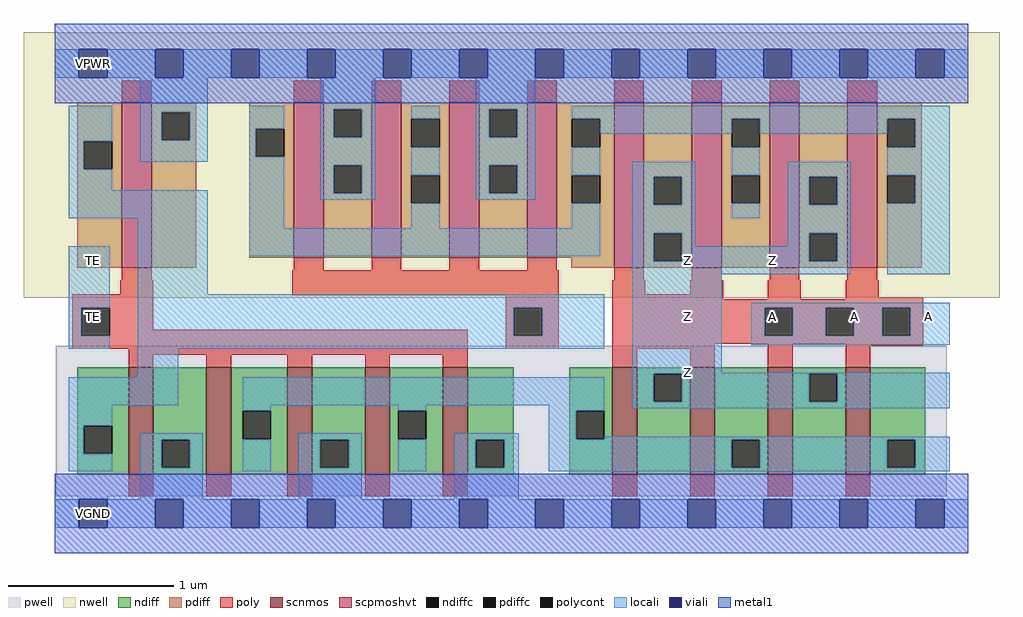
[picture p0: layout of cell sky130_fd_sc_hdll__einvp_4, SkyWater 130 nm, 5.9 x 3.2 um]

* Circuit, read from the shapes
.subckt sky130_fd_sc_hdll__einvp_4 A TE VGND VNB VPB VPWR Z
XM1 VGND TE n1 VNB sky130_fd_pr__nfet_01v8 w=0.65 l=0.15
XM2 n2 TE VGND VNB sky130_fd_pr__nfet_01v8 w=0.65 l=0.15 m=4
XM3 Z A n2 VNB sky130_fd_pr__nfet_01v8 w=0.65 l=0.15 m=4
XM4 VPWR TE n1 VPB sky130_fd_pr__pfet_01v8_hvt w=1 l=0.18
XM5 VPWR n1 n3 VPB sky130_fd_pr__pfet_01v8_hvt w=0.94 l=0.18 m=4
XM6 Z A n3 VPB sky130_fd_pr__pfet_01v8_hvt w=1 l=0.18 m=4
.ends

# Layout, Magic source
magic
tech sky130A
magscale 1 2
<< nwell >>
rect -38 261 1142 582
<< pwell >>
rect 1 21 1078 203
rect 30 -17 64 21
<< scnmos >>
rect 89 47 119 177
rect 183 47 213 177
rect 281 47 311 177
rect 375 47 405 177
rect 469 47 499 177
rect 674 47 704 177
rect 768 47 798 177
rect 862 47 892 177
rect 956 47 986 177
<< scpmoshvt >>
rect 81 297 117 497
rect 289 309 325 497
rect 383 309 419 497
rect 477 309 513 497
rect 571 309 607 497
rect 676 297 712 497
rect 770 297 806 497
rect 864 297 900 497
rect 958 297 994 497
<< ndiff >>
rect 27 106 89 177
rect 27 72 35 106
rect 69 72 89 106
rect 27 47 89 72
rect 119 89 183 177
rect 119 55 129 89
rect 163 55 183 89
rect 119 47 183 55
rect 213 124 281 177
rect 213 90 227 124
rect 261 90 281 124
rect 213 47 281 90
rect 311 89 375 177
rect 311 55 321 89
rect 355 55 375 89
rect 311 47 375 55
rect 405 124 469 177
rect 405 90 415 124
rect 449 90 469 124
rect 405 47 469 90
rect 499 89 555 177
rect 499 55 509 89
rect 543 55 555 89
rect 499 47 555 55
rect 622 124 674 177
rect 622 90 630 124
rect 664 90 674 124
rect 622 47 674 90
rect 704 169 768 177
rect 704 135 724 169
rect 758 135 768 169
rect 704 47 768 135
rect 798 89 862 177
rect 798 55 818 89
rect 852 55 862 89
rect 798 47 862 55
rect 892 169 956 177
rect 892 135 912 169
rect 946 135 956 169
rect 892 47 956 135
rect 986 89 1052 177
rect 986 55 1006 89
rect 1040 55 1052 89
rect 986 47 1052 55
<< pdiff >>
rect 27 450 81 497
rect 27 416 35 450
rect 69 416 81 450
rect 27 297 81 416
rect 117 485 171 497
rect 117 451 129 485
rect 163 451 171 485
rect 117 297 171 451
rect 235 465 289 497
rect 235 431 243 465
rect 277 431 289 465
rect 235 309 289 431
rect 325 489 383 497
rect 325 455 337 489
rect 371 455 383 489
rect 325 421 383 455
rect 325 387 337 421
rect 371 387 383 421
rect 325 309 383 387
rect 419 477 477 497
rect 419 443 431 477
rect 465 443 477 477
rect 419 409 477 443
rect 419 375 431 409
rect 465 375 477 409
rect 419 309 477 375
rect 513 489 571 497
rect 513 455 525 489
rect 559 455 571 489
rect 513 421 571 455
rect 513 387 525 421
rect 559 387 571 421
rect 513 309 571 387
rect 607 477 676 497
rect 607 443 625 477
rect 659 443 676 477
rect 607 409 676 443
rect 607 375 625 409
rect 659 375 676 409
rect 607 309 676 375
rect 624 297 676 309
rect 712 407 770 497
rect 712 373 724 407
rect 758 373 770 407
rect 712 339 770 373
rect 712 305 724 339
rect 758 305 770 339
rect 712 297 770 305
rect 806 477 864 497
rect 806 443 818 477
rect 852 443 864 477
rect 806 409 864 443
rect 806 375 818 409
rect 852 375 864 409
rect 806 297 864 375
rect 900 407 958 497
rect 900 373 912 407
rect 946 373 958 407
rect 900 339 958 373
rect 900 305 912 339
rect 946 305 958 339
rect 900 297 958 305
rect 994 477 1048 497
rect 994 443 1006 477
rect 1040 443 1048 477
rect 994 409 1048 443
rect 994 375 1006 409
rect 1040 375 1048 409
rect 994 297 1048 375
<< ndiffc >>
rect 35 72 69 106
rect 129 55 163 89
rect 227 90 261 124
rect 321 55 355 89
rect 415 90 449 124
rect 509 55 543 89
rect 630 90 664 124
rect 724 135 758 169
rect 818 55 852 89
rect 912 135 946 169
rect 1006 55 1040 89
<< pdiffc >>
rect 35 416 69 450
rect 129 451 163 485
rect 243 431 277 465
rect 337 455 371 489
rect 337 387 371 421
rect 431 443 465 477
rect 431 375 465 409
rect 525 455 559 489
rect 525 387 559 421
rect 625 443 659 477
rect 625 375 659 409
rect 724 373 758 407
rect 724 305 758 339
rect 818 443 852 477
rect 818 375 852 409
rect 912 373 946 407
rect 912 305 946 339
rect 1006 443 1040 477
rect 1006 375 1040 409
<< poly >>
rect 81 497 117 523
rect 289 497 325 523
rect 383 497 419 523
rect 477 497 513 523
rect 571 497 607 523
rect 676 497 712 523
rect 770 497 806 523
rect 864 497 900 523
rect 958 497 994 523
rect 81 282 117 297
rect 289 294 325 309
rect 383 294 419 309
rect 477 294 513 309
rect 571 294 607 309
rect 79 265 119 282
rect 21 249 119 265
rect 287 264 609 294
rect 676 282 712 297
rect 770 282 806 297
rect 864 282 900 297
rect 958 282 994 297
rect 21 215 32 249
rect 66 222 119 249
rect 545 249 609 264
rect 66 215 499 222
rect 21 199 499 215
rect 545 215 555 249
rect 589 215 609 249
rect 545 199 609 215
rect 674 265 714 282
rect 768 265 808 282
rect 674 259 808 265
rect 862 259 902 282
rect 956 261 996 282
rect 956 259 1050 261
rect 674 249 1050 259
rect 674 215 858 249
rect 892 215 932 249
rect 966 215 1000 249
rect 1034 215 1050 249
rect 674 205 1050 215
rect 674 199 798 205
rect 89 192 499 199
rect 89 177 119 192
rect 183 177 213 192
rect 281 177 311 192
rect 375 177 405 192
rect 469 177 499 192
rect 674 177 704 199
rect 768 177 798 199
rect 862 177 892 205
rect 956 203 1050 205
rect 956 177 986 203
rect 89 21 119 47
rect 183 21 213 47
rect 281 21 311 47
rect 375 21 405 47
rect 469 21 499 47
rect 674 21 704 47
rect 768 21 798 47
rect 862 21 892 47
rect 956 21 986 47
<< polycont >>
rect 32 215 66 249
rect 555 215 589 249
rect 858 215 892 249
rect 932 215 966 249
rect 1000 215 1034 249
<< locali >>
rect 0 527 29 561
rect 63 527 121 561
rect 155 527 213 561
rect 247 527 305 561
rect 339 527 397 561
rect 431 527 489 561
rect 523 527 581 561
rect 615 527 673 561
rect 707 527 765 561
rect 799 527 857 561
rect 891 527 949 561
rect 983 527 1041 561
rect 1075 527 1104 561
rect 17 450 69 493
rect 17 416 35 450
rect 103 485 185 527
rect 103 451 129 485
rect 163 451 185 485
rect 103 425 185 451
rect 235 465 277 493
rect 235 431 243 465
rect 17 391 69 416
rect 17 357 185 391
rect 17 249 66 323
rect 17 215 32 249
rect 17 199 66 215
rect 100 265 185 357
rect 235 345 277 431
rect 321 489 387 527
rect 321 455 337 489
rect 371 455 387 489
rect 321 421 387 455
rect 321 387 337 421
rect 371 387 387 421
rect 321 379 387 387
rect 431 477 465 493
rect 431 409 465 443
rect 509 489 581 527
rect 509 455 525 489
rect 559 455 581 489
rect 509 421 581 455
rect 509 387 525 421
rect 559 387 581 421
rect 509 379 581 387
rect 625 477 1082 493
rect 659 459 818 477
rect 625 409 659 443
rect 852 459 1006 477
rect 431 345 465 375
rect 625 345 659 375
rect 235 311 659 345
rect 698 407 774 425
rect 698 373 724 407
rect 758 373 774 407
rect 698 339 774 373
rect 818 409 852 443
rect 1040 443 1082 477
rect 818 357 852 375
rect 886 407 962 425
rect 886 373 912 407
rect 946 373 962 407
rect 698 305 724 339
rect 758 323 774 339
rect 886 339 962 373
rect 886 323 912 339
rect 758 305 912 323
rect 946 305 962 339
rect 698 289 962 305
rect 1006 409 1082 443
rect 1040 375 1082 409
rect 1006 289 1082 375
rect 100 249 664 265
rect 100 215 555 249
rect 589 215 664 249
rect 100 199 664 215
rect 100 165 149 199
rect 698 170 806 289
rect 842 249 1082 255
rect 842 215 858 249
rect 892 215 932 249
rect 966 215 1000 249
rect 1034 215 1082 249
rect 842 204 1082 215
rect 698 169 1082 170
rect 17 131 149 165
rect 227 131 664 165
rect 17 106 69 131
rect 17 72 35 106
rect 227 124 261 131
rect 17 51 69 72
rect 103 89 179 97
rect 103 55 129 89
rect 163 55 179 89
rect 103 17 179 55
rect 415 124 449 131
rect 227 51 261 90
rect 295 89 371 97
rect 295 55 321 89
rect 355 55 371 89
rect 295 17 371 55
rect 597 124 664 131
rect 698 135 724 169
rect 758 135 912 169
rect 946 135 1082 169
rect 698 127 1082 135
rect 415 51 449 90
rect 483 89 561 97
rect 483 55 509 89
rect 543 55 561 89
rect 483 17 561 55
rect 597 90 630 124
rect 664 90 1082 93
rect 597 89 1082 90
rect 597 55 818 89
rect 852 55 1006 89
rect 1040 55 1082 89
rect 597 51 1082 55
rect 0 -17 29 17
rect 63 -17 121 17
rect 155 -17 213 17
rect 247 -17 305 17
rect 339 -17 397 17
rect 431 -17 489 17
rect 523 -17 581 17
rect 615 -17 673 17
rect 707 -17 765 17
rect 799 -17 857 17
rect 891 -17 949 17
rect 983 -17 1041 17
rect 1075 -17 1104 17
<< viali >>
rect 29 527 63 561
rect 121 527 155 561
rect 213 527 247 561
rect 305 527 339 561
rect 397 527 431 561
rect 489 527 523 561
rect 581 527 615 561
rect 673 527 707 561
rect 765 527 799 561
rect 857 527 891 561
rect 949 527 983 561
rect 1041 527 1075 561
rect 29 -17 63 17
rect 121 -17 155 17
rect 213 -17 247 17
rect 305 -17 339 17
rect 397 -17 431 17
rect 489 -17 523 17
rect 581 -17 615 17
rect 673 -17 707 17
rect 765 -17 799 17
rect 857 -17 891 17
rect 949 -17 983 17
rect 1041 -17 1075 17
<< metal1 >>
rect 0 561 1104 592
rect 0 527 29 561
rect 63 527 121 561
rect 155 527 213 561
rect 247 527 305 561
rect 339 527 397 561
rect 431 527 489 561
rect 523 527 581 561
rect 615 527 673 561
rect 707 527 765 561
rect 799 527 857 561
rect 891 527 949 561
rect 983 527 1041 561
rect 1075 527 1104 561
rect 0 496 1104 527
rect 0 17 1104 48
rect 0 -17 29 17
rect 63 -17 121 17
rect 155 -17 213 17
rect 247 -17 305 17
rect 339 -17 397 17
rect 431 -17 489 17
rect 523 -17 581 17
rect 615 -17 673 17
rect 707 -17 765 17
rect 799 -17 857 17
rect 891 -17 949 17
rect 983 -17 1041 17
rect 1075 -17 1104 17
rect 0 -48 1104 -17
<< labels >>
flabel locali s 30 289 64 323 0 FreeSans 200 0 0 0 TE
port 2 nsew signal input
flabel locali s 30 221 64 255 0 FreeSans 200 0 0 0 TE
port 2 nsew signal input
flabel locali s 950 221 984 255 0 FreeSans 200 0 0 0 A
port 1 nsew signal input
flabel locali s 850 221 884 255 0 FreeSans 200 0 0 0 A
port 1 nsew signal input
flabel locali s 1039 221 1073 255 0 FreeSans 200 0 0 0 A
port 1 nsew signal input
flabel locali s 850 289 884 323 0 FreeSans 200 0 0 0 Z
port 7 nsew signal output
flabel locali s 748 289 782 323 0 FreeSans 200 0 0 0 Z
port 7 nsew signal output
flabel locali s 748 153 782 187 0 FreeSans 200 0 0 0 Z
port 7 nsew signal output
flabel locali s 748 221 782 255 0 FreeSans 200 0 0 0 Z
port 7 nsew signal output
flabel metal1 s 30 527 64 561 0 FreeSans 200 0 0 0 VPWR
port 6 nsew power bidirectional
flabel metal1 s 30 -17 64 17 0 FreeSans 200 0 0 0 VGND
port 3 nsew ground bidirectional
flabel nwell s 30 527 64 561 0 FreeSans 200 0 0 0 VPB
port 5 nsew power bidirectional
flabel pwell s 30 -17 64 17 0 FreeSans 200 0 0 0 VNB
port 4 nsew ground bidirectional
rlabel comment s 0 0 0 0 4 einvp_4
<< properties >>
string LEFsite unithd
string LEFclass CORE
string FIXED_BBOX 0 0 1104 544
string GDS_FILE $PDKPATH/libs.ref/sky130_fd_sc_hdll/gds/sky130_fd_sc_hdll.gds
string LEFsymmetry X Y R90
string GDS_END 2079724
string GDS_START 2071408
string LEFproperties maskLayoutSubType "abstract" prCellType "standard" originalViewName "layout"
<< end >>
